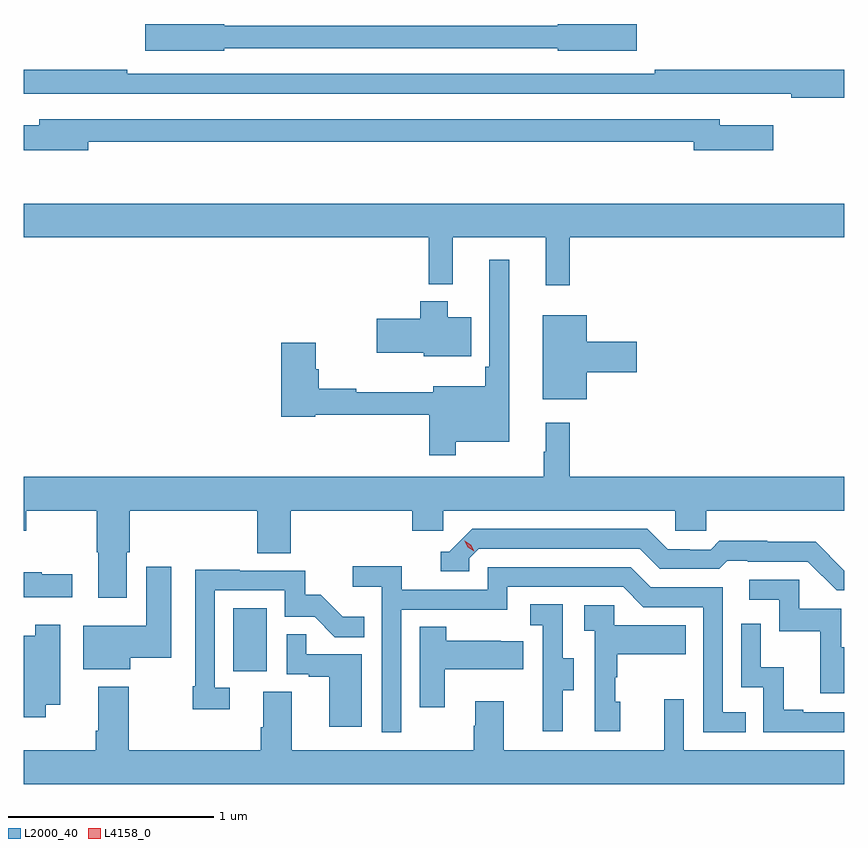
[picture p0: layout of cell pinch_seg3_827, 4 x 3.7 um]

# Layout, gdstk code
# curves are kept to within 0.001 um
import gdstk
lib = gdstk.Library(unit=1e-6, precision=1e-09)
def R(c, l, rs):  # rectangles x0, y0, x1, y1
    for r in rs: c.add(gdstk.rectangle(r[:2], r[2:], *l))
def P(c, l, *ps):  # polygons
    for p in ps: c.add(gdstk.Polygon(p, *l))
L2000_40 = (2000, 40)
L4158_0 = (4158, 0)

pinch_seg3_827 = lib.new_cell('pinch_seg3_827')
R(pinch_seg3_827, L2000_40, [(839.312,716.118,839.476,716.425)])
P(pinch_seg3_827, L2000_40, [(839.268,719.154),(840.894,719.154),(840.894,719.141),(841.279,719.141),(841.279,719.271),(840.894,719.271),(840.894,719.263),(839.268,719.263),(839.268,719.271),(838.884,719.271),(838.884,719.141),(839.268,719.141)],
  [(842.291,719.048),(841.366,719.048),(841.366,719.028),(838.796,719.028),(838.796,719.048),(838.291,719.048),(838.291,718.932),(841.78,718.932),(841.78,718.931),(842.032,718.931),(842.032,718.912),(842.291,718.912)],
  [(838.606,718.698),(841.556,718.698),(841.556,718.655),(841.945,718.655),(841.945,718.777),(841.684,718.777),(841.684,718.806),(838.367,718.806),(838.367,718.777),(838.291,718.777),(838.291,718.655),(838.606,718.655)],
  [(840.953,718.232),(842.291,718.232),(842.291,718.396),(838.291,718.396),(838.291,718.232),(840.265,718.232),(840.265,718.004),(840.383,718.004),(840.383,718.232),(840.836,718.232),(840.836,717.999),(840.953,717.999)],
  [(840.397,717.236),(840.658,717.236),(840.658,718.123),(840.561,718.123),(840.561,717.601),(840.541,717.601),(840.541,717.505),(840.287,717.505),(840.287,717.476),(839.912,717.476),(839.912,717.494),(839.729,717.494),(839.729,717.588),(839.716,717.588),(839.716,717.718),(839.546,717.718),(839.546,717.358),(839.712,717.358),(839.712,717.366),(840.268,717.366),(840.268,717.171),(840.397,717.171)],
  [(840.472,717.841),(840.358,717.841),(840.358,717.919),(840.224,717.919),(840.224,717.834),(840.012,717.834),(840.012,717.668),(840.24,717.668),(840.24,717.653),(840.472,717.653)],
  [(841.036,717.575),(841.279,717.575),(841.279,717.722),(841.036,717.722),(841.036,717.853),(840.821,717.853),(840.821,717.443),(841.036,717.443)],
  [(838.795,716.696),(838.808,716.696),(838.808,716.9),(839.429,716.9),(839.429,716.692),(839.594,716.692),(839.594,716.9),(840.185,716.9),(840.185,716.802),(840.336,716.802),(840.336,716.9),(841.467,716.9),(841.467,716.802),(841.617,716.802),(841.617,716.9),(842.291,716.9),(842.291,717.064),(840.953,717.064),(840.953,717.328),(840.836,717.328),(840.836,717.188),(840.825,717.188),(840.825,717.064),(838.291,717.064),(838.291,716.801),(838.305,716.801),(838.305,716.9),(838.648,716.9),(838.648,716.696),(838.655,716.696),(838.655,716.475),(838.795,716.475)],
  [(842.291,716.608),(842.15,716.749),(841.914,716.749),(841.914,716.752),(841.681,716.752),(841.639,716.709),(841.536,716.709),(841.536,716.712),(841.429,716.712),(841.33,716.811),(840.477,716.811),(840.366,716.7),(840.323,716.7),(840.323,716.604),(840.462,716.604),(840.462,716.667),(840.51,716.715),(841.293,716.715),(841.392,716.616),(841.681,716.616),(841.72,716.655),(841.819,716.655),(841.819,716.652),(842.112,716.652),(842.253,716.511),(842.291,716.511)],
  [(840.132,716.418),(840.648,716.417),(840.648,716.529),(841.212,716.529),(841.311,716.43),(841.602,716.43),(841.602,715.821),(841.811,715.821),(841.811,715.917),(841.698,715.917),(841.698,716.526),(841.348,716.526),(841.249,716.625),(840.552,716.625),(840.552,716.514),(840.134,716.514),(840.134,716.63),(839.895,716.63),(839.895,716.528),(840.036,716.528),(840.036,715.821),(840.132,715.821)],
  [(838.81,716.183),(839.011,716.183),(839.011,716.626),(838.889,716.626),(838.889,716.338),(838.583,716.338),(838.583,716.126),(838.81,716.126)],
  [(839.296,716.037),(839.223,716.037),(839.223,716.511),(839.565,716.511),(839.565,716.382),(839.709,716.382),(839.807,716.284),(839.951,716.284),(839.951,716.383),(839.847,716.383),(839.74,716.49),(839.664,716.49),(839.664,716.607),(839.345,716.607),(839.345,716.612),(839.127,716.612),(839.127,716.044),(839.115,716.044),(839.115,715.932),(839.296,715.932)],
  [(838.528,716.59),(838.38,716.59),(838.38,716.599),(838.291,716.599),(838.291,716.477),(838.528,716.477)],
  [(842.291,716.235),(842.275,716.235),(842.275,716.421),(842.07,716.421),(842.07,716.562),(841.827,716.562),(841.827,716.466),(841.974,716.466),(841.974,716.313),(842.173,716.313),(842.173,716.01),(842.291,716.01)],
  [(840.919,716.026),(840.973,716.026),(840.973,716.181),(840.918,716.181),(840.918,716.444),(840.759,716.444),(840.759,716.341),(840.822,716.341),(840.822,716.037),(840.821,716.037),(840.821,715.824),(840.919,715.824)],
  [(841.198,715.968),(841.173,715.968),(841.173,716.087),(841.183,716.087),(841.183,716.201),(841.517,716.201),(841.517,716.341),(841.17,716.341),(841.17,716.439),(841.023,716.439),(841.023,716.315),(841.074,716.315),(841.074,715.824),(841.198,715.824)],
  [(842.291,715.917),(842.089,715.917),(842.089,715.93),(841.994,715.93),(841.994,716.138),(841.884,716.138),(841.884,716.35),(841.788,716.35),(841.788,716.04),(841.896,716.04),(841.896,715.821),(842.291,715.821)],
  [(838.399,715.955),(838.471,715.955),(838.471,716.344),(838.349,716.344),(838.349,716.29),(838.291,716.29),(838.291,715.893),(838.399,715.893)],
  [(840.343,716.126),(840.725,716.126),(840.725,716.263),(840.617,716.263),(840.617,716.266),(840.351,716.266),(840.351,716.333),(840.221,716.333),(840.221,715.941),(840.343,715.941)],
  [(839.938,716.199),(839.669,716.199),(839.669,716.297),(839.574,716.297),(839.574,716.103),(839.681,716.103),(839.681,716.091),(839.78,716.091),(839.78,715.848),(839.938,715.848)],
  [(842.291,715.732),(841.509,715.732),(841.509,715.981),(841.412,715.981),(841.412,715.732),(840.631,715.732),(840.631,715.972),(840.491,715.972),(840.491,715.853),(840.484,715.853),(840.484,715.732),(839.599,715.732),(839.599,716.018),(839.459,716.018),(839.459,715.844),(839.447,715.844),(839.447,715.732),(838.803,715.732),(838.803,716.041),(838.655,716.041),(838.655,715.828),(838.643,715.828),(838.643,715.732),(838.291,715.732),(838.291,715.568),(842.291,715.568)])
P(pinch_seg3_827, L4158_0, [(840.486,716.701),(840.456,716.721),(840.44,716.754),(840.44,716.754),(840.44,716.754),(840.471,716.734),(840.487,716.701),(840.487,716.701)])

lib.write_gds('pinch_seg3_827.gds')
